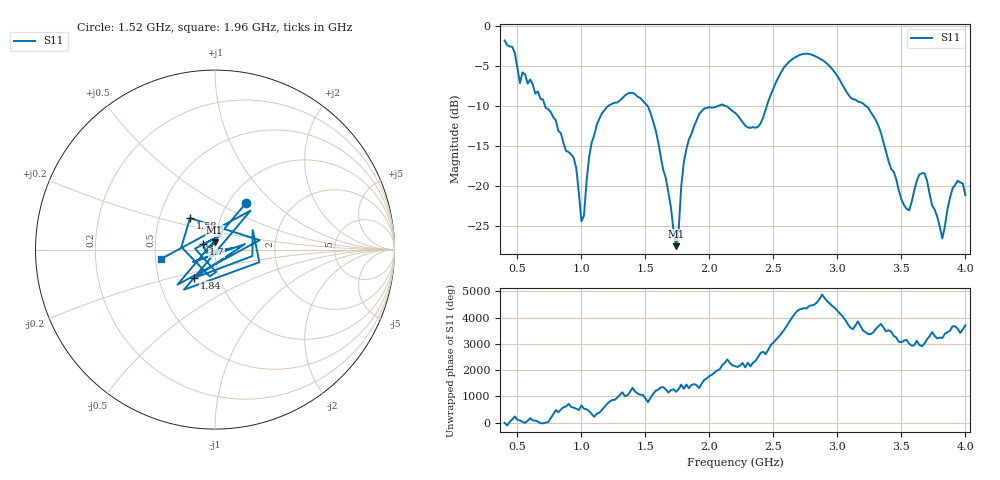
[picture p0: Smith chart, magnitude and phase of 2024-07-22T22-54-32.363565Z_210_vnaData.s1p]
!Created with skrf (http://scikit-rf.org).
# Hz S RI R 50.0
!freq ReS11 ImS11
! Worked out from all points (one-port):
!   181 points, 400 MHz to 4 GHz, reference 50 ohm
!   lowest |S11| = -27.6 dB at 1.74 GHz (marker M1), VSWR 1.09, Z = 49.6 + j4.14 ohm
!   |S11| at or under -10 dB: 716.2 MHz to 1.209 GHz (493.2 MHz wide, 51.2 % of centre); 1.518 GHz to 2.064 GHz (545.6 MHz wide, 30.5 % of centre); 3.224 GHz to end of sweep (the widest 3 of 4)
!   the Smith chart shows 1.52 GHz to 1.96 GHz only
!   S11 on the Smith chart (normalised r, x): 1.52 GHz: 1.20, +0.70; 1.58 GHz: 0.71, +0.26; 1.7 GHz: 0.87, +0.05; 1.84 GHz: 0.76, -0.25; 1.96 GHz: 0.53, -0.06
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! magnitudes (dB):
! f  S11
! 400 MHz  -1.8
! 480 MHz  -3.3
! 520 MHz  -7.1
! 600 MHz  -6.6
! 860 MHz  -14.6
! 960 MHz  -17.8
! 1 GHz  -24.4
! 1.12 GHz  -12.4
! 1.3 GHz  -9.3
! 1.52 GHz  -10.0
! 1.58 GHz  -13.0
! 1.7 GHz  -22.8
! 1.74 GHz  -27.6
! 1.76 GHz  -25.5
! 1.8 GHz  -17.1
! 1.84 GHz  -14.2
! 1.96 GHz  -10.3
! 2.2 GHz  -10.8
! 2.38 GHz  -12.6
! 2.66 GHz  -4.0
! 2.9 GHz  -4.4
! 3.1 GHz  -8.9
! 3.3 GHz  -11.8
! 3.56 GHz  -23.1
! 3.68 GHz  -18.4
! 3.82 GHz  -26.6
! 3.9 GHz  -20.3
! 4 GHz  -21.2
